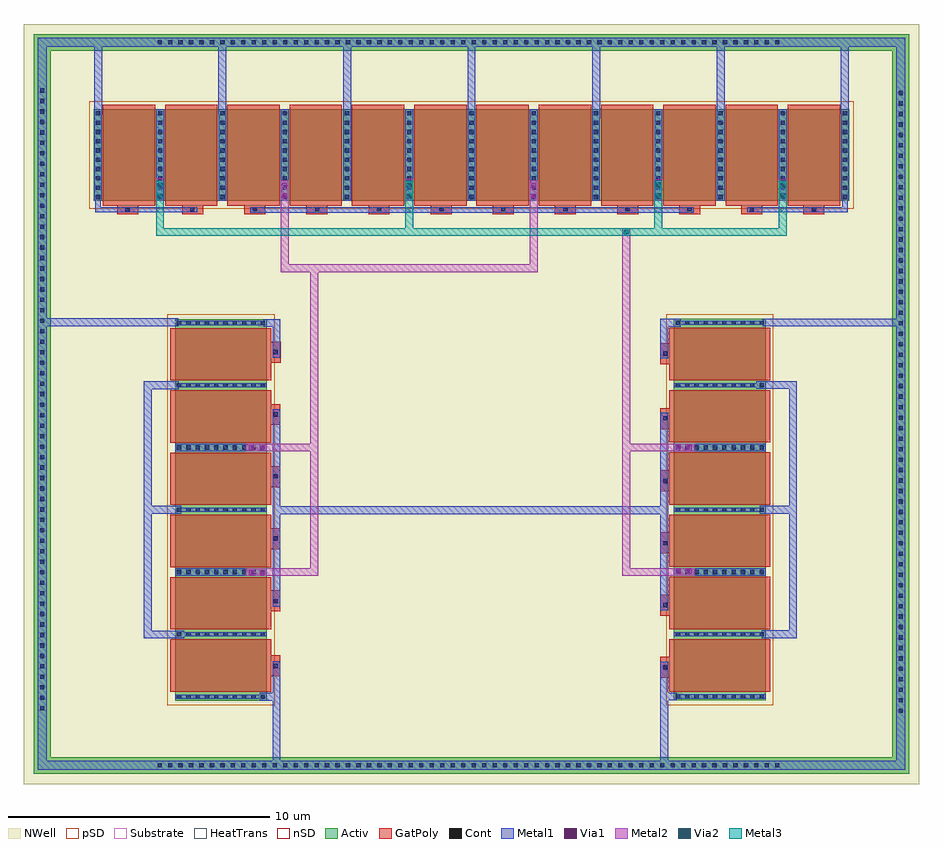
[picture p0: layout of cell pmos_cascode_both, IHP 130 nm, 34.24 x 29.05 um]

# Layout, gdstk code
from math import pi, radians
import gdstk
lib = gdstk.Library(unit=1e-6, precision=1e-09)
def R(c, l, rs):  # rectangles x0, y0, x1, y1
    for r in rs: c.add(gdstk.rectangle(r[:2], r[2:], *l))
def A(c, l, x, y, w, h, nx, ny, dx, dy):  # array of equal rectangles
    R(c, l, [(x+i*dx, y+j*dy, x+i*dx+w, y+j*dy+h) for i in range(nx) for j in range(ny)])
def P(c, l, *ps):  # polygons
    for p in ps: c.add(gdstk.Polygon(p, *l))
Activ = (1, 0)
GatPoly = (5, 0)
Cont = (6, 0)
nSD = (7, 0)
Metal1 = (8, 0)
Metal2 = (10, 0)
pSD = (14, 0)
Via1 = (19, 0)
Via2 = (29, 0)
Metal3 = (30, 0)
NWell = (31, 0)
Substrate = (40, 0)
HeatTrans = (51, 0)

pmos_1 = lib.new_cell('pmos$1')
A(pmos_1, Activ, 0, 0, 0.3, 0.3, 13, 1, 2.38, 0)
R(pmos_1, Activ, [(0,0,28.86,3.5)])
A(pmos_1, GatPoly, 0.34, -0.18, 2, 3.86, 12, 1, 2.38, 0)
R(pmos_1, GatPoly, [(0.34,-0.18,2.34,3.68)])
A(pmos_1, Cont, 0.07, 0.07, 0.16, 0.16, 13, 9, 2.38, 0.355)
A(pmos_1, Cont, 0.07, 3.27, 0.16, 0.16, 13, 1, 2.38, 0)
A(pmos_1, Metal1, 2.45, 0, 0.16, 3.5, 12, 1, 2.38, 0)
R(pmos_1, Metal1, [(0.07,0,0.23,3.5), (0.07,0,0.23,3.5), (2.45,0,2.61,3.5)])
R(pmos_1, pSD, [(-0.18,-0.3,29.04,3.8)])
R(pmos_1, NWell, [(-0.31,-0.31,29.17,3.81)])
R(pmos_1, Substrate, [(28.56,0,28.86,0.3)])
A(pmos_1, HeatTrans, 0.34, -0.18, 2, 3.86, 12, 1, 2.38, 0)
pmos_1.add(gdstk.Label('pmos', (1.34,1.75), layer=63, texttype=0))
pmos_1.add(gdstk.Label('pmos', (1.34,1.75), layer=51, texttype=0))
pmos_1.add(gdstk.Label('pmos', (3.72,1.75), layer=51, texttype=0))
pmos_1.add(gdstk.Label('pmos', (6.1,1.75), layer=51, texttype=0))
pmos_1.add(gdstk.Label('pmos', (8.48,1.75), layer=51, texttype=0))
pmos_1.add(gdstk.Label('pmos', (10.86,1.75), layer=51, texttype=0))
pmos_1.add(gdstk.Label('pmos', (13.24,1.75), layer=51, texttype=0))
pmos_1.add(gdstk.Label('pmos', (15.62,1.75), layer=51, texttype=0))
pmos_1.add(gdstk.Label('pmos', (18,1.75), layer=51, texttype=0))
pmos_1.add(gdstk.Label('pmos', (20.38,1.75), layer=51, texttype=0))
pmos_1.add(gdstk.Label('pmos', (22.76,1.75), layer=51, texttype=0))
pmos_1.add(gdstk.Label('pmos', (25.14,1.75), layer=51, texttype=0))
pmos_1.add(gdstk.Label('pmos', (27.52,1.75), layer=51, texttype=0))

pmos_2 = lib.new_cell('pmos$2')
A(pmos_2, Activ, 0, 0, 0.3, 0.3, 7, 1, 2.38, 0)
R(pmos_2, Activ, [(0,0,14.58,3.5)])
A(pmos_2, GatPoly, 0.34, -0.18, 2, 3.86, 6, 1, 2.38, 0)
R(pmos_2, GatPoly, [(0.34,-0.18,2.34,3.68)])
A(pmos_2, Cont, 0.07, 0.07, 0.16, 0.16, 7, 9, 2.38, 0.355)
A(pmos_2, Cont, 0.07, 3.27, 0.16, 0.16, 7, 1, 2.38, 0)
A(pmos_2, Metal1, 2.45, 0, 0.16, 3.5, 6, 1, 2.38, 0)
R(pmos_2, Metal1, [(0.07,0,0.23,3.5), (0.07,0,0.23,3.5), (2.45,0,2.61,3.5)])
R(pmos_2, pSD, [(-0.18,-0.3,14.76,3.8)])
R(pmos_2, NWell, [(-0.31,-0.31,14.89,3.81)])
R(pmos_2, Substrate, [(14.28,0,14.58,0.3)])
A(pmos_2, HeatTrans, 0.34, -0.18, 2, 3.86, 6, 1, 2.38, 0)
pmos_2.add(gdstk.Label('pmos', (1.34,1.75), layer=63, texttype=0))
pmos_2.add(gdstk.Label('pmos', (1.34,1.75), layer=51, texttype=0))
pmos_2.add(gdstk.Label('pmos', (3.72,1.75), layer=51, texttype=0))
pmos_2.add(gdstk.Label('pmos', (6.1,1.75), layer=51, texttype=0))
pmos_2.add(gdstk.Label('pmos', (8.48,1.75), layer=51, texttype=0))
pmos_2.add(gdstk.Label('pmos', (10.86,1.75), layer=51, texttype=0))
pmos_2.add(gdstk.Label('pmos', (13.24,1.75), layer=51, texttype=0))

pmos_cascode_both = lib.new_cell('pmos_cascode_both')
A(pmos_cascode_both, GatPoly, 7.22, -7.885, 0.355, 0.8, 1, 4, 0, 2.375)
A(pmos_cascode_both, GatPoly, -7.655, -7.725, 0.355, 0.8, 1, 4, 0, 2.375)
A(pmos_cascode_both, GatPoly, -11.055, 7.45, 0.8, 0.355, 4, 1, 2.375, 0)
A(pmos_cascode_both, GatPoly, 7.945, 7.45, 0.8, 0.355, 3, 1, 2.375, 0)
R(pmos_cascode_both, GatPoly, [(7.215,-10.26,7.575,-9.46), (-7.655,1.775,-7.295,2.575), (-1.555,7.445,-0.755,7.805), (5.57,7.445,6.37,7.805), (0.82,7.45,1.62,7.805), (3.195,7.45,3.995,7.805)])
P(pmos_cascode_both, GatPoly, [(-13.53,7.45),(-13.53,7.805),(-12.73,7.805),(-12.73,7.45),(-13.145,7.45)],
  [(-7.655,-10.2),(-7.655,-9.4),(-7.3,-9.4),(-7.3,-9.815),(-7.3,-10.2)],
  [(7.22,1.715),(7.22,2.13),(7.22,2.515),(7.575,2.515),(7.575,1.715)])
A(pmos_cascode_both, Cont, -11.995, -13.69, 0.16, 0.16, 30, 2, 0.4, 27.635)
A(pmos_cascode_both, Cont, 0.015, -13.69, 0.16, 0.16, 30, 2, 0.4, 27.635)
A(pmos_cascode_both, Cont, 16.335, -11.605, 0.16, 0.16, 1, 30, 0, 0.4)
A(pmos_cascode_both, Cont, -16.485, -11.51, 0.16, 0.16, 1, 30, 0, 0.4)
A(pmos_cascode_both, Cont, 16.335, 0.405, 0.16, 0.16, 1, 30, 0, 0.4)
A(pmos_cascode_both, Cont, -16.485, 0.5, 0.16, 0.16, 1, 30, 0, 0.4)
A(pmos_cascode_both, Cont, 3.52, 7.56, 0.16, 0.16, 3, 1, 2.37, 0)
R(pmos_cascode_both, Cont, [(7.33,-9.95,7.49,-9.79), (-7.57,-9.895,-7.41,-9.735), (7.33,-7.565,7.49,-7.405), (-7.57,-7.42,-7.41,-7.26), (7.33,-5.2,7.49,-5.04), (-7.57,-5.02,-7.41,-4.86), (7.33,-2.825,7.49,-2.665), (-7.57,-2.645,-7.41,-2.485), (7.33,-0.425,7.49,-0.265), (-7.57,-0.28,-7.41,-0.12), (7.33,2.05,7.49,2.21), (-7.57,2.105,-7.41,2.265), (-13.225,7.56,-13.065,7.72), (-10.75,7.56,-10.59,7.72), (-8.35,7.56,-8.19,7.72), (-5.975,7.56,-5.815,7.72), (-3.61,7.56,-3.45,7.72), (-1.225,7.56,-1.065,7.72), (1.14,7.56,1.3,7.72), (10.64,7.56,10.8,7.72), (13.015,7.56,13.175,7.72)])
A(pmos_cascode_both, Metal1, -0.145, 7.965, 0.3, 3.5, 3, 1, 2.38, 0)
R(pmos_cascode_both, Metal1, [(-14.41,7.965,-14.125,11.465), (-12.045,7.965,-11.74,11.465), (-9.66,7.965,-9.365,11.465), (-7.285,7.965,-6.985,11.465), (-4.905,7.965,-4.6,11.465), (-2.52,7.965,-2.225,11.465), (7,7.965,7.295,11.465), (9.375,7.965,9.68,11.465), (11.755,7.965,12.055,11.465), (14.135,7.965,14.42,11.465)])
R(pmos_cascode_both, Via1, [(-8.5,-6.32,-8.31,-6.13), (-8.09,-6.32,-7.9,-6.13), (7.82,-6.315,8.01,-6.125), (8.23,-6.315,8.42,-6.125), (-8.5,-1.56,-8.31,-1.37), (-8.09,-1.56,-7.9,-1.37), (7.82,-1.555,8.01,-1.365), (8.23,-1.555,8.42,-1.365), (-11.995,8.05,-11.805,8.24), (-2.47,8.055,-2.28,8.245), (2.29,8.055,2.48,8.245), (-7.23,8.06,-7.04,8.25), (7.05,8.065,7.24,8.255), (11.81,8.065,12,8.255), (-11.995,8.465,-11.805,8.655), (-2.47,8.47,-2.28,8.66), (2.29,8.47,2.48,8.66), (-7.23,8.475,-7.04,8.665), (11.81,8.475,12,8.665), (7.05,8.48,7.24,8.67)])
R(pmos_cascode_both, Via2, [(5.83,6.68,6.02,6.87), (-11.995,8.05,-11.805,8.24), (-2.47,8.055,-2.28,8.245), (7.05,8.065,7.24,8.255), (11.81,8.065,12,8.255), (-11.995,8.465,-11.805,8.655), (-2.47,8.47,-2.28,8.66), (11.81,8.475,12,8.665), (7.05,8.48,7.24,8.67)])
R(pmos_cascode_both, NWell, [(-17.115,-14.325,17.125,14.725)])
pmos_cascode_both.add(gdstk.FlexPath([(-8.445,7.62),(8.505,7.62)], 0.21, ends="flush", simple_path=True, layer=8, datatype=0))  # Metal1
pmos_cascode_both.add(gdstk.FlexPath([(-14.28,8.045),(-14.28,7.625),(-10.485,7.625)], 0.21, ends="flush", simple_path=True, layer=8, datatype=0))  # Metal1
pmos_cascode_both.add(gdstk.FlexPath([(14.285,8.05),(14.285,7.625),(10.545,7.625)], 0.21, ends="flush", simple_path=True, layer=8, datatype=0))  # Metal1
pmos_cascode_both.add(gdstk.FlexPath([(-9.52,11.28),(-9.52,14.02)], 0.3, ends="flush", simple_path=True, layer=8, datatype=0))  # Metal1
pmos_cascode_both.add(gdstk.FlexPath([(-4.75,11.235),(-4.75,12.525),(-4.75,14.02)], 0.3, ends="flush", simple_path=True, layer=8, datatype=0))  # Metal1
pmos_cascode_both.add(gdstk.FlexPath([(0.005,11.095),(0.005,14.02)], 0.3, ends="flush", simple_path=True, layer=8, datatype=0))  # Metal1
pmos_cascode_both.add(gdstk.FlexPath([(4.77,11.095),(4.77,14.02)], 0.3, ends="flush", simple_path=True, layer=8, datatype=0))  # Metal1
pmos_cascode_both.add(gdstk.FlexPath([(9.53,11.095),(9.53,14.02)], 0.3, ends="flush", simple_path=True, layer=8, datatype=0))  # Metal1
pmos_cascode_both.add(gdstk.FlexPath([(14.275,11.285),(14.275,14.02)], 0.3, ends="flush", simple_path=True, layer=8, datatype=0))  # Metal1
pmos_cascode_both.add(gdstk.FlexPath([(-7.45,0.005),(-7.45,-7.545)], 0.3, ends="flush", simple_path=True, layer=8, datatype=0))  # Metal1
pmos_cascode_both.add(gdstk.FlexPath([(-7.45,1.97),(-7.45,3.295),(-7.93,3.295)], 0.3, ends="flush", simple_path=True, layer=8, datatype=0))  # Metal1
pmos_cascode_both.add(gdstk.FlexPath([(-7.45,-9.63),(-7.45,-10.985),(-8.08,-10.985)], 0.3, ends="flush", simple_path=True, layer=8, datatype=0))  # Metal1
pmos_cascode_both.add(gdstk.FlexPath([(-11.185,0.92),(-12.375,0.92),(-12.375,-8.61),(-10.97,-8.61),(-10.97,-8.61)], 0.3, ends="flush", simple_path=True, layer=8, datatype=0))  # Metal1
pmos_cascode_both.add(gdstk.FlexPath([(-11.095,-3.845),(-12.375,-3.845)], 0.3, ends="flush", simple_path=True, layer=8, datatype=0))  # Metal1
pmos_cascode_both.add(gdstk.FlexPath([(-11.325,-1.465),(-7.825,-1.465)], 0.3, ends="flush", simple_path=True, layer=8, datatype=0))  # Metal1
pmos_cascode_both.add(gdstk.FlexPath([(-11.325,-6.22),(-7.825,-6.22)], 0.3, ends="flush", simple_path=True, layer=8, datatype=0))  # Metal1
pmos_cascode_both.add(gdstk.FlexPath([(7.37,-7.69),(7.37,-0.14)], 0.3, ends="flush", simple_path=True, layer=8, datatype=0))  # Metal1
pmos_cascode_both.add(gdstk.FlexPath([(7.37,-9.655),(7.37,-10.98),(7.85,-10.98)], 0.3, ends="flush", simple_path=True, layer=8, datatype=0))  # Metal1
pmos_cascode_both.add(gdstk.FlexPath([(7.37,1.945),(7.37,3.3),(8,3.3)], 0.3, ends="flush", simple_path=True, layer=8, datatype=0))  # Metal1
pmos_cascode_both.add(gdstk.FlexPath([(11.105,-8.605),(12.295,-8.605),(12.295,0.925),(10.89,0.925),(10.89,0.925)], 0.3, ends="flush", simple_path=True, layer=8, datatype=0))  # Metal1
pmos_cascode_both.add(gdstk.FlexPath([(11.015,-3.84),(12.295,-3.84)], 0.3, ends="flush", simple_path=True, layer=8, datatype=0))  # Metal1
pmos_cascode_both.add(gdstk.FlexPath([(11.245,-6.22),(7.745,-6.22)], 0.3, ends="flush", simple_path=True, layer=8, datatype=0))  # Metal1
pmos_cascode_both.add(gdstk.FlexPath([(11.245,-1.465),(7.745,-1.465)], 0.3, ends="flush", simple_path=True, layer=8, datatype=0))  # Metal1
pmos_cascode_both.add(gdstk.FlexPath([(-7.45,-3.86),(7.37,-3.86)], 0.3, ends="flush", simple_path=True, layer=8, datatype=0))  # Metal1
pmos_cascode_both.add(gdstk.FlexPath([(-16.575,-13.615),(16.585,-13.615)], 0.34, ends="flush", simple_path=True, layer=8, datatype=0))  # Metal1
pmos_cascode_both.add(gdstk.FlexPath([(-16.405,-13.445),(-16.405,13.85)], 0.34, ends="flush", simple_path=True, layer=8, datatype=0))  # Metal1
pmos_cascode_both.add(gdstk.FlexPath([(16.415,-13.445),(16.415,14.02),(-16.575,14.02)], 0.34, ends="flush", simple_path=True, layer=8, datatype=0))  # Metal1
pmos_cascode_both.add(gdstk.FlexPath([(-14.265,11.28),(-14.265,14.02)], 0.3, ends="flush", simple_path=True, layer=8, datatype=0))  # Metal1
pmos_cascode_both.add(gdstk.FlexPath([(11.13,3.315),(16.352,3.315)], 0.3, ends="flush", simple_path=True, layer=8, datatype=0))  # Metal1
pmos_cascode_both.add(gdstk.FlexPath([(7.37,-10.98),(7.37,-13.615)], 0.3, ends="flush", simple_path=True, layer=8, datatype=0))  # Metal1
pmos_cascode_both.add(gdstk.FlexPath([(-7.45,-10.985),(-7.45,-13.615)], 0.3, ends="flush", simple_path=True, layer=8, datatype=0))  # Metal1
pmos_cascode_both.add(gdstk.FlexPath([(-11.21,3.32),(-16.405,3.32)], 0.3, ends="flush", simple_path=True, layer=8, datatype=0))  # Metal1
pmos_cascode_both.add(gdstk.FlexPath([(-16.725,14.02),(16.735,14.02)], 0.64, ends="flush", simple_path=True, layer=1, datatype=0))  # Activ
pmos_cascode_both.add(gdstk.FlexPath([(-16.405,13.7),(-16.405,-13.295)], 0.64, ends="flush", simple_path=True, layer=1, datatype=0))  # Activ
pmos_cascode_both.add(gdstk.FlexPath([(16.415,13.7),(16.415,-13.295)], 0.64, ends="flush", simple_path=True, layer=1, datatype=0))  # Activ
pmos_cascode_both.add(gdstk.FlexPath([(-16.725,-13.615),(16.735,-13.615)], 0.64, ends="flush", simple_path=True, layer=1, datatype=0))  # Activ
pmos_cascode_both.add(gdstk.FlexPath([(16.415,14.34),(16.415,-13.615),(-16.405,-13.615),(-16.405,14.02),(16.095,14.02)], 0.64, ends="flush", simple_path=True, layer=31, datatype=0))  # NWell
pmos_cascode_both.add(gdstk.FlexPath([(-11.9,8.835),(-11.9,7.965)], 0.3, ends="flush", simple_path=True, layer=10, datatype=0))  # Metal2
pmos_cascode_both.add(gdstk.FlexPath([(11.905,8.785),(11.905,7.965)], 0.3, ends="flush", simple_path=True, layer=10, datatype=0))  # Metal2
pmos_cascode_both.add(gdstk.FlexPath([(7.14,8.795),(7.14,7.965)], 0.3, ends="flush", simple_path=True, layer=10, datatype=0))  # Metal2
pmos_cascode_both.add(gdstk.FlexPath([(-2.375,8.81),(-2.375,7.965)], 0.3, ends="flush", simple_path=True, layer=10, datatype=0))  # Metal2
pmos_cascode_both.add(gdstk.FlexPath([(-7.135,8.75),(-7.135,5.385),(2.385,5.385),(2.385,8.75)], 0.3, ends="flush", simple_path=True, layer=10, datatype=0))  # Metal2
pmos_cascode_both.add(gdstk.FlexPath([(-8.615,-1.465),(-6.005,-1.465),(-6.005,-6.22),(-8.615,-6.22)], 0.3, ends="flush", simple_path=True, layer=10, datatype=0))  # Metal2
pmos_cascode_both.add(gdstk.FlexPath([(8.535,-6.22),(5.925,-6.22),(5.925,-1.465),(8.535,-1.465)], 0.3, ends="flush", simple_path=True, layer=10, datatype=0))  # Metal2
pmos_cascode_both.add(gdstk.FlexPath([(-6.005,-1.465),(-6.005,5.385)], 0.3, ends="flush", simple_path=True, layer=10, datatype=0))  # Metal2
pmos_cascode_both.add(gdstk.FlexPath([(5.925,-1.465),(5.925,6.925)], 0.3, ends="flush", simple_path=True, layer=10, datatype=0))  # Metal2
pmos_cascode_both.add(gdstk.FlexPath([(-11.9,8.745),(-11.9,6.775),(11.905,6.775),(11.905,8.725)], 0.3, ends="flush", simple_path=True, layer=30, datatype=0))  # Metal3
pmos_cascode_both.add(gdstk.FlexPath([(7.14,8.76),(7.14,6.775)], 0.3, ends="flush", simple_path=True, layer=30, datatype=0))  # Metal3
pmos_cascode_both.add(gdstk.FlexPath([(-2.375,8.74),(-2.375,6.775)], 0.3, ends="flush", simple_path=True, layer=30, datatype=0))  # Metal3
pmos_cascode_both.add(gdstk.FlexPath([(16.415,-13.935),(16.415,14.02),(-16.405,14.02),(-16.405,-13.615),(16.11,-13.615)], 0.64, ends="flush", simple_path=True, layer=7, datatype=0))  # nSD
pmos_cascode_both.add(gdstk.Reference(pmos_1, (-14.425,7.965)))
pmos_cascode_both.add(gdstk.Reference(pmos_2, (-7.825,-11.135), rotation=pi/2))
pmos_cascode_both.add(gdstk.Reference(pmos_2, (7.745,3.45), rotation=3*pi/2))

lib.write_gds('pmos_cascode_both.gds')
